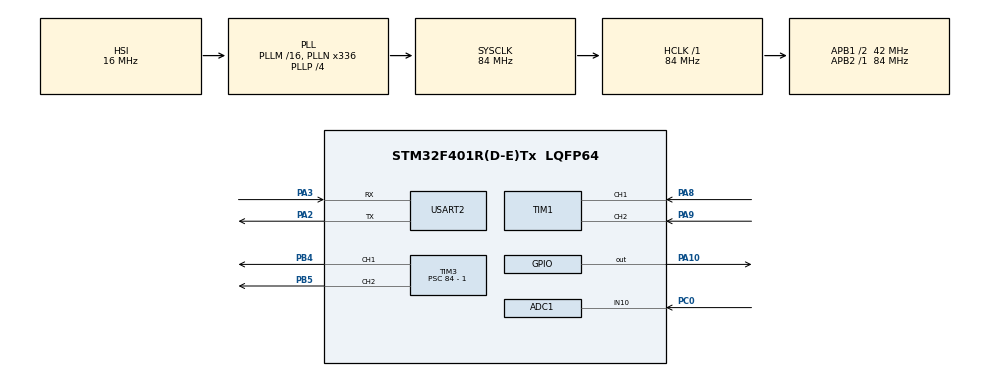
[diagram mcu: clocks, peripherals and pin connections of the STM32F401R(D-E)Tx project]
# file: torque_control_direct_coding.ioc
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ADC1.Channel-6\#ChannelRegularConversion=ADC_CHANNEL_10
ADC1.NbrOfConversionFlag=1
ADC1.Rank-6\#ChannelRegularConversion=1
ADC1.SamplingTime-6\#ChannelRegularConversion=ADC_SAMPLETIME_3CYCLES
ADC1.master=1
Mcu.Family=STM32F4
Mcu.Name=STM32F401R(D-E)Tx
Mcu.Package=LQFP64
NVIC.PriorityGroup=NVIC_PRIORITYGROUP_4
NVIC.TIM2_IRQn=true\:0\:0\:false\:false\:true\:true\:true\:true
NVIC.TIM4_IRQn=true\:0\:0\:false\:false\:true\:true\:true\:true
PA10.Signal=GPIO_Output
PA13.Mode=Serial_Wire
PA13.Signal=SYS_JTMS-SWDIO
PA14.Mode=Serial_Wire
PA14.Signal=SYS_JTCK-SWCLK
PA2.Mode=Asynchronous
PA2.Signal=USART2_TX
PA3.Mode=Asynchronous
PA3.Signal=USART2_RX
PA8.Signal=S_TIM1_CH1
PA9.Signal=S_TIM1_CH2
PB4.Signal=S_TIM3_CH1
PB5.Signal=S_TIM3_CH2
PC0.Signal=ADCx_IN10
ProjectManager.HeapSize=0x200
ProjectManager.StackSize=0x400
ProjectManager.TargetToolchain=STM32CubeIDE
RCC.48MHZClocksFreq_Value=84000000
RCC.AHBFreq_Value=84000000
RCC.APB1CLKDivider=RCC_HCLK_DIV2
RCC.APB1Freq_Value=42000000
RCC.APB1TimFreq_Value=84000000
RCC.APB2Freq_Value=84000000
RCC.APB2TimFreq_Value=84000000
RCC.CortexFreq_Value=84000000
RCC.HCLKFreq_Value=84000000
RCC.HSE_VALUE=25000000
RCC.HSI_VALUE=16000000
RCC.LSE_VALUE=32768
RCC.PLLN=336
RCC.PLLP=RCC_PLLP_DIV4
RCC.SYSCLKFreq_VALUE=84000000
RCC.SYSCLKSource=RCC_SYSCLKSOURCE_PLLCLK
RCC.VCOOutputFreq_Value=336000000
SH.ADCx_IN10.0=ADC1_IN10,IN10
SH.S_TIM1_CH1.0=TIM1_CH1,Encoder_Interface
SH.S_TIM1_CH2.0=TIM1_CH2,Encoder_Interface
SH.S_TIM3_CH1.0=TIM3_CH1,PWM Generation1 CH1
SH.S_TIM3_CH2.0=TIM3_CH2,PWM Generation2 CH2
TIM1.EncoderMode=TIM_ENCODERMODE_TI12
TIM2.Period=250-1
TIM2.Prescaler=84-1
TIM3.AutoReloadPreload=TIM_AUTORELOAD_PRELOAD_ENABLE
TIM3.Channel-PWM\ Generation1\ CH1=TIM_CHANNEL_1
TIM3.Channel-PWM\ Generation2\ CH2=TIM_CHANNEL_2
TIM3.Period=500 - 1
TIM3.Prescaler=84 - 1
TIM4.Period=5000 - 1
TIM4.Prescaler=84 - 1
USART2.VirtualMode=VM_ASYNC
VP_TIM2_VS_ClockSourceINT.Mode=Internal
VP_TIM3_VS_ClockSourceINT.Mode=Internal
VP_TIM4_VS_ClockSourceINT.Mode=Internal
board=custom

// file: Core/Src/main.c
/* USER CODE BEGIN Header */
/**
 ******************************************************************************
 * @file           : main.c
 * @brief          : Main program body
 ******************************************************************************
 * @attention
 *
 * <h2><center>&copy; Copyright (c) 2021 STMicroelectronics.
 * All rights reserved.</center></h2>
 *
 * This software component is licensed by ST under BSD 3-Clause license,
 * the "License"; You may not use this file except in compliance with the
 * License. You may obtain a copy of the License at:
 *                        opensource.org/licenses/BSD-3-Clause
 *
 ******************************************************************************
 */
/* USER CODE END Header */
#include "main.h"

/* USER CODE BEGIN Includes */
#include "stdio.h"
#include "stdlib.h"
#include "stdbool.h"
#include "math.h"
#include "string.h"
#include  <errno.h>
#include  <sys/unistd.h> // STDOUT_FILENO, STDERR_FILENO
/* USER CODE END Includes */

/* USER CODE BEGIN PD */
#define WAITING 3 // the number of seconds to wait from one reference change to the next. It also coincides with the number of seconds between one USART send and the next
/* USER CODE END PD */

ADC_HandleTypeDef hadc1;

TIM_HandleTypeDef htim1;
TIM_HandleTypeDef htim2;
TIM_HandleTypeDef htim3;
TIM_HandleTypeDef htim4;

UART_HandleTypeDef huart2;

void SystemClock_Config(void);
static void MX_GPIO_Init(void);
static void MX_USART2_UART_Init(void);
static void MX_TIM3_Init(void);
static void MX_TIM1_Init(void);
static void MX_TIM4_Init(void);
static void MX_ADC1_Init(void);
static void MX_TIM2_Init(void);

/* USER CODE BEGIN 0 */
/* BEGIN CIRCULAR DATA BUFFER */
typedef struct circular_buffer {
	void *buffer;     // data buffer
	void *buffer_end; // end of data buffer
	size_t capacity;  // maximum number of items in the buffer
	size_t count;     // number of items in the buffer
	size_t sz;        // size of each item in the buffer
	void *head;       // pointer to head
	void *tail;       // pointer to tail
	bool writing;  // signals if the buffer is being written
} circular_buffer;

void cb_init(circular_buffer *cb, size_t capacity, size_t sz) {
	cb->buffer = calloc(capacity, sz);
	if (cb->buffer == NULL)
		printf("ALLOCATED NULL\n\r");
	// handle error
	cb->buffer_end = (char*) cb->buffer + capacity * sz;
	cb->capacity = capacity;
	cb->count = 0;
	cb->sz = sz;
	cb->head = cb->buffer;
	cb->tail = cb->buffer;
	cb->writing = false;

}

void cb_free(circular_buffer *cb) {
	free(cb->buffer);
	// clear out other fields too, just to be safe
}

void cb_push_back(circular_buffer *cb, const void *item) {
	if (cb->count == cb->capacity) {
		printf("ERROR PUSH BACK \n\r");
		// handle error
	}
	cb->writing = true;
	memmove(cb->head, item, cb->sz);
	cb->head = (char*) cb->head + cb->sz;
	if (cb->head == cb->buffer_end)
		cb->head = cb->buffer;
	cb->count++;
	cb->writing = false;
}

void cb_pop_front(circular_buffer *cb, void *item) {
	if (cb->count == 0) {
		printf("ERROR PUSH BACK \n\r");
		// handle error
	}
	memmove(item, cb->tail, cb->sz);
	cb->tail = (char*) cb->tail + cb->sz;
	if (cb->tail == cb->buffer_end)
		cb->tail = cb->buffer;
	while ((cb->writing))
		;
	cb->count--;
}

circular_buffer myBuff;

/* BEGIN RECORD TYPEDEF*/
typedef struct record {
	double current_current;
	double current_u; // value of the current controller output
	double current_error;
	double current_ref;
	uint32_t cycleCoreDuration; // time needed to read, compute and actuate
	uint32_t cycleBeginDelay; // difference between the actual and the expected absolute start time of the cycle
	uint32_t currentTimestamp; // current timestamp in millis
	double current_pos;
	double current_vel;
} record;

/* BEGIN USART WRITE FUNCTION (used by printf)*/
int _write(int file, char *data, int len) {
	if ((file != STDOUT_FILENO) && (file != STDERR_FILENO)) {
		errno = EBADF;
		return -1;
	}

	// arbitrary timeout 1000
	HAL_StatusTypeDef status = HAL_UART_Transmit(&huart2, (uint8_t*) data, len,
			1000);

	// return # of bytes written - as best we can tell
	return (status == HAL_OK ? len : 0);
}

void setPulseFromDutyValue(double dutyVal) {
	HAL_GPIO_WritePin(GPIOA, GPIO_PIN_10, GPIO_PIN_SET); // enable the motor driver

	uint16_t channelToModulate;
	uint16_t channelToStop;

	if (dutyVal > 0) {
		channelToModulate = TIM_CHANNEL_1;
		channelToStop = TIM_CHANNEL_2;
	} else {
		channelToModulate = TIM_CHANNEL_2;
		channelToStop = TIM_CHANNEL_1;
	}

	__HAL_TIM_SET_COMPARE(&htim3, channelToStop, 0);
	__HAL_TIM_SET_COMPARE(&htim3, channelToModulate,
			(abs(dutyVal) * ((double )htim3.Init.Period)) / 100); //cast integer value to double to correctly perform division between decimal numbers
}

double getSpeedByDelta(double ticksDelta, double Ts) {
	return ticksDelta * 60 / (8400 * Ts);
}

double getTicksDelta(double currentTicks, double lastTicks, double Ts) {
	double delta;

	if (abs(currentTicks - lastTicks) <= ceil(12600 * Ts))
		delta = currentTicks - lastTicks;
	else {
		if (lastTicks > currentTicks)
			delta = currentTicks + pow(2, 16) - 1 - lastTicks;
		else
			delta = currentTicks - pow(2, 16) + 1 - lastTicks;
	}
	return delta;
}

int sign(double x) {

    if (x > 0) {
        return 1;
    } else if (x < 0) {
        return -1;
    } else {
        return 0;
    }

}

double getPosition(double delta, double *ticks_star){

	double ticks_star_old = *ticks_star;
	*ticks_star = ticks_star_old + delta;
	double completeTheta = 2*M_PI*(*ticks_star)/(8400);
	double position = completeTheta;

	return position;

}

double getErrorPos(double currentError) {

    double error = currentError;

    if (currentError > M_PI) {
        error = currentError - 2 * M_PI;
    } else if (currentError < -M_PI) {
        error = currentError + 2 * M_PI;
    }

    return error;

}

double getRef(double y, double real_ref){

	double real_ref_mod = remainder(real_ref,2*M_PI);
	double y_mod = remainder(y, 2*M_PI);

	double fixed_part = trunc((y-0.02) / (2 * M_PI)) *2*M_PI;

	double a = real_ref + 2*M_PI;
	double b = y_mod + 2* M_PI;

	double c, ab, bc, sign_part, r;

	if (real_ref_mod > 0)
		c = -(2*M_PI - real_ref_mod) + 2*M_PI;
	else
		c = 2*M_PI + real_ref_mod + 2*M_PI;

	if (a > b)
		ab = abs(a-b);
	else
		ab = abs(b-a);

	if (c > b)
		bc = abs(c-b);
	else
		bc = abs(b-c);

	if (ab > bc)
		if (real_ref_mod > 0)
			sign_part = - (2*M_PI - real_ref_mod);
		else
			sign_part = 2*M_PI + real_ref_mod;
	else
		sign_part = real_ref_mod;

	r = fixed_part + sign_part;

	return r;

}

double getDigitalSensorValue(double raw_value){
	double digital_value =  raw_value * 3.3/4095;
	return digital_value;
}

double getAmpere(double voltage_value){
	return ((voltage_value-2.5-0.070)/0.185);
}

double firstOrderLagFilter(double y_old, double y_hat_old, double alpha){
    double y_filtered= (alpha *y_hat_old) + ((1-alpha)* y_old);
    return y_filtered;
}

double getCurrentRef(double real_current_ref){
	return real_current_ref*0.2;
}

int cycleduration;
double lastTicks = 0;
double currentTicks = 0;
uint32_t ticControlStep;
uint32_t tocControlStep;
uint32_t controlComputationDuration;
double u_last = 0;
double e_last = 0;
double Ts = 0.005;
double referenceVals[10] = { 0.0, 0.05, 0.100, 0.150, 0.200,0.250, 0.200, 0.150, 0.1, 0.05};
double referenceVal;
uint32_t k_controller = -1;
int samplingPrescaler = 2;
int samplingPrescalerCounter = 0;
double ticks_star = 0;
uint16_t raw;
double y_old = 0;
double y_hat = 0;
double y_hat_old = 0;
double alpha = 0.9;
double k_t = 1.32;

double process_adc_data(uint32_t raw)
{  // Get ADC value
    //HAL_ADC_Start(&hadc1);
    //HAL_ADC_PollForConversion(&hadc1, HAL_MAX_DELAY);
    //raw = HAL_ADC_GetValue(&hadc1);
	double y_hat_local_process_adc_data=0;
    double digital_current_value = getDigitalSensorValue(raw);
    double ampere_value = getAmpere(digital_current_value);
    y_hat_local_process_adc_data = firstOrderLagFilter(y_old, y_hat_old, alpha);
    y_old = ampere_value;
    y_hat_old = y_hat_local_process_adc_data;
    return y_hat_local_process_adc_data;
    // Aggiungi il tuo codice di elaborazione qui
    // Ad esempio: calcolo della media, filtraggio, ecc.
}
/* USER CODE END 0 */

int main(void)
{

  /* MCU Configuration--------------------------------------------------------*/

  /* Reset of all peripherals, Initializes the Flash interface and the Systick. */
  HAL_Init();

  /* USER CODE BEGIN Init */
	//size_t bufferSize = (size_t)ceil(2 * WAITING / (Ts * samplingPrescaler));
	size_t bufferSize = 1000;
	cb_init(&myBuff, bufferSize, sizeof(record));

  /* USER CODE END Init */

  /* Configure the system clock */
  SystemClock_Config();

  /* Initialize all configured peripherals */
  MX_GPIO_Init();
  MX_USART2_UART_Init();
  MX_TIM3_Init();
  MX_TIM1_Init();
  MX_TIM4_Init();
  MX_ADC1_Init();
  MX_TIM2_Init();
  /* USER CODE BEGIN 2 */
	HAL_TIM_PWM_Start(&htim3, TIM_CHANNEL_1);
	HAL_TIM_PWM_Start(&htim3, TIM_CHANNEL_2);
	HAL_TIM_Base_Start(&htim1);
	HAL_TIM_Base_Start_IT(&htim2);
	HAL_TIM_Base_Start_IT(&htim4);

  /* USER CODE END 2 */

  /* Infinite loop */
  /* USER CODE BEGIN WHILE */
	int referenceIndex = 0;

	referenceVal = referenceVals[referenceIndex];
	printf("INIT\n\r"); // initialize the Matlab tool for COM data acquiring

	while (1) {
		size_t nEntriesToSend = myBuff.count; //number of samples not read yet
		record retrieved; //buffer entry

		for (size_t count = 0; count < nEntriesToSend; count++) {
			cb_pop_front(&myBuff, &retrieved); //take entry from the buffer
			printf("%lu, %f, %f, %f, %f, %f, %f, %lu, %lu\n\r",
					retrieved.currentTimestamp,

					retrieved.current_pos,
					retrieved.current_u,
					retrieved.current_vel,
					retrieved.current_error,
					retrieved.current_ref,
					retrieved.current_current,

					retrieved.cycleBeginDelay,
					retrieved.cycleCoreDuration); // send values via USART using format: value1, value2, value3, ... valuen \n \r
		}
		referenceVal = referenceVals[referenceIndex];
		referenceIndex = referenceIndex + 1;
		HAL_Delay(WAITING*1000); // takes a time value in ms
		if (referenceIndex > 9)
			referenceIndex = 0;

    /* USER CODE END WHILE */

	}
}

void SystemClock_Config(void)
{
  RCC_OscInitTypeDef RCC_OscInitStruct = {0};
  RCC_ClkInitTypeDef RCC_ClkInitStruct = {0};

  /** Configure the main internal regulator output voltage
  */
  __HAL_RCC_PWR_CLK_ENABLE();
  __HAL_PWR_VOLTAGESCALING_CONFIG(PWR_REGULATOR_VOLTAGE_SCALE2);

  /** Initializes the RCC Oscillators according to the specified parameters
  * in the RCC_OscInitTypeDef structure.
  */
  RCC_OscInitStruct.OscillatorType = RCC_OSCILLATORTYPE_HSI;
  RCC_OscInitStruct.HSIState = RCC_HSI_ON;
  RCC_OscInitStruct.HSICalibrationValue = RCC_HSICALIBRATION_DEFAULT;
  RCC_OscInitStruct.PLL.PLLState = RCC_PLL_ON;
  RCC_OscInitStruct.PLL.PLLSource = RCC_PLLSOURCE_HSI;
  RCC_OscInitStruct.PLL.PLLM = 16;
  RCC_OscInitStruct.PLL.PLLN = 336;
  RCC_OscInitStruct.PLL.PLLP = RCC_PLLP_DIV4;
  RCC_OscInitStruct.PLL.PLLQ = 4;
  if (HAL_RCC_OscConfig(&RCC_OscInitStruct) != HAL_OK)
  {
    Error_Handler();
  }

  /** Initializes the CPU, AHB and APB buses clocks
  */
  RCC_ClkInitStruct.ClockType = RCC_CLOCKTYPE_HCLK|RCC_CLOCKTYPE_SYSCLK
                              |RCC_CLOCKTYPE_PCLK1|RCC_CLOCKTYPE_PCLK2;
  RCC_ClkInitStruct.SYSCLKSource = RCC_SYSCLKSOURCE_PLLCLK;
  RCC_ClkInitStruct.AHBCLKDivider = RCC_SYSCLK_DIV1;
  RCC_ClkInitStruct.APB1CLKDivider = RCC_HCLK_DIV2;
  RCC_ClkInitStruct.APB2CLKDivider = RCC_HCLK_DIV1;

  if (HAL_RCC_ClockConfig(&RCC_ClkInitStruct, FLASH_LATENCY_2) != HAL_OK)
  {
    Error_Handler();
  }
}

static void MX_ADC1_Init(void)
{

  ADC_ChannelConfTypeDef sConfig = {0};

  /** Configure the global features of the ADC (Clock, Resolution, Data Alignment and number of conversion)
  */
  hadc1.Instance = ADC1;
  hadc1.Init.ClockPrescaler = ADC_CLOCK_SYNC_PCLK_DIV4;
  hadc1.Init.Resolution = ADC_RESOLUTION_12B;
  hadc1.Init.ScanConvMode = DISABLE;
  hadc1.Init.ContinuousConvMode = DISABLE;
  hadc1.Init.DiscontinuousConvMode = DISABLE;
  hadc1.Init.ExternalTrigConvEdge = ADC_EXTERNALTRIGCONVEDGE_NONE;
  hadc1.Init.ExternalTrigConv = ADC_SOFTWARE_START;
  hadc1.Init.DataAlign = ADC_DATAALIGN_RIGHT;
  hadc1.Init.NbrOfConversion = 1;
  hadc1.Init.DMAContinuousRequests = DISABLE;
  hadc1.Init.EOCSelection = ADC_EOC_SINGLE_CONV;
  if (HAL_ADC_Init(&hadc1) != HAL_OK)
  {
    Error_Handler();
  }

  /** Configure for the selected ADC regular channel its corresponding rank in the sequencer and its sample time.
  */
  sConfig.Channel = ADC_CHANNEL_10;
  sConfig.Rank = 1;
  sConfig.SamplingTime = ADC_SAMPLETIME_3CYCLES;
  if (HAL_ADC_ConfigChannel(&hadc1, &sConfig) != HAL_OK)
  {
    Error_Handler();
  }

}

static void MX_TIM1_Init(void)
{

  TIM_Encoder_InitTypeDef sConfig = {0};
  TIM_MasterConfigTypeDef sMasterConfig = {0};

  htim1.Instance = TIM1;
  htim1.Init.Prescaler = 0;
  htim1.Init.CounterMode = TIM_COUNTERMODE_UP;
  htim1.Init.Period = 65535;
  htim1.Init.ClockDivision = TIM_CLOCKDIVISION_DIV1;
  htim1.Init.RepetitionCounter = 0;
  htim1.Init.AutoReloadPreload = TIM_AUTORELOAD_PRELOAD_DISABLE;
  sConfig.EncoderMode = TIM_ENCODERMODE_TI12;
  sConfig.IC1Polarity = TIM_ICPOLARITY_RISING;
  sConfig.IC1Selection = TIM_ICSELECTION_DIRECTTI;
  sConfig.IC1Prescaler = TIM_ICPSC_DIV1;
  sConfig.IC1Filter = 0;
  sConfig.IC2Polarity = TIM_ICPOLARITY_RISING;
  sConfig.IC2Selection = TIM_ICSELECTION_DIRECTTI;
  sConfig.IC2Prescaler = TIM_ICPSC_DIV1;
  sConfig.IC2Filter = 0;
  if (HAL_TIM_Encoder_Init(&htim1, &sConfig) != HAL_OK)
  {
    Error_Handler();
  }
  sMasterConfig.MasterOutputTrigger = TIM_TRGO_RESET;
  sMasterConfig.MasterSlaveMode = TIM_MASTERSLAVEMODE_DISABLE;
  if (HAL_TIMEx_MasterConfigSynchronization(&htim1, &sMasterConfig) != HAL_OK)
  {
    Error_Handler();
  }

}

static void MX_TIM2_Init(void)
{

  TIM_ClockConfigTypeDef sClockSourceConfig = {0};
  TIM_MasterConfigTypeDef sMasterConfig = {0};

  htim2.Instance = TIM2;
  htim2.Init.Prescaler = 84-1;
  htim2.Init.CounterMode = TIM_COUNTERMODE_UP;
  htim2.Init.Period = 250-1;
  htim2.Init.ClockDivision = TIM_CLOCKDIVISION_DIV1;
  htim2.Init.AutoReloadPreload = TIM_AUTORELOAD_PRELOAD_DISABLE;
  if (HAL_TIM_Base_Init(&htim2) != HAL_OK)
  {
    Error_Handler();
  }
  sClockSourceConfig.ClockSource = TIM_CLOCKSOURCE_INTERNAL;
  if (HAL_TIM_ConfigClockSource(&htim2, &sClockSourceConfig) != HAL_OK)
  {
    Error_Handler();
  }
  sMasterConfig.MasterOutputTrigger = TIM_TRGO_RESET;
  sMasterConfig.MasterSlaveMode = TIM_MASTERSLAVEMODE_DISABLE;
  if (HAL_TIMEx_MasterConfigSynchronization(&htim2, &sMasterConfig) != HAL_OK)
  {
    Error_Handler();
  }

}

static void MX_TIM3_Init(void)
{

  TIM_ClockConfigTypeDef sClockSourceConfig = {0};
  TIM_MasterConfigTypeDef sMasterConfig = {0};
  TIM_OC_InitTypeDef sConfigOC = {0};

  htim3.Instance = TIM3;
  htim3.Init.Prescaler = 84 - 1;
  htim3.Init.CounterMode = TIM_COUNTERMODE_UP;
  htim3.Init.Period = 500 - 1;
  htim3.Init.ClockDivision = TIM_CLOCKDIVISION_DIV1;
  htim3.Init.AutoReloadPreload = TIM_AUTORELOAD_PRELOAD_ENABLE;
  if (HAL_TIM_Base_Init(&htim3) != HAL_OK)
  {
    Error_Handler();
  }
  sClockSourceConfig.ClockSource = TIM_CLOCKSOURCE_INTERNAL;
  if (HAL_TIM_ConfigClockSource(&htim3, &sClockSourceConfig) != HAL_OK)
  {
    Error_Handler();
  }
  if (HAL_TIM_PWM_Init(&htim3) != HAL_OK)
  {
    Error_Handler();
  }
  sMasterConfig.MasterOutputTrigger = TIM_TRGO_RESET;
  sMasterConfig.MasterSlaveMode = TIM_MASTERSLAVEMODE_DISABLE;
  if (HAL_TIMEx_MasterConfigSynchronization(&htim3, &sMasterConfig) != HAL_OK)
  {
    Error_Handler();
  }
  sConfigOC.OCMode = TIM_OCMODE_PWM1;
  sConfigOC.Pulse = 0;
  sConfigOC.OCPolarity = TIM_OCPOLARITY_HIGH;
  sConfigOC.OCFastMode = TIM_OCFAST_DISABLE;
  if (HAL_TIM_PWM_ConfigChannel(&htim3, &sConfigOC, TIM_CHANNEL_1) != HAL_OK)
  {
    Error_Handler();
  }
  if (HAL_TIM_PWM_ConfigChannel(&htim3, &sConfigOC, TIM_CHANNEL_2) != HAL_OK)
  {
    Error_Handler();
  }
  HAL_TIM_MspPostInit(&htim3);

}

static void MX_TIM4_Init(void)
{

  TIM_ClockConfigTypeDef sClockSourceConfig = {0};
  TIM_MasterConfigTypeDef sMasterConfig = {0};

  htim4.Instance = TIM4;
  htim4.Init.Prescaler = 84 - 1;
  htim4.Init.CounterMode = TIM_COUNTERMODE_UP;
  htim4.Init.Period = 5000 - 1;
  htim4.Init.ClockDivision = TIM_CLOCKDIVISION_DIV1;
  htim4.Init.AutoReloadPreload = TIM_AUTORELOAD_PRELOAD_DISABLE;
  if (HAL_TIM_Base_Init(&htim4) != HAL_OK)
  {
    Error_Handler();
  }
  sClockSourceConfig.ClockSource = TIM_CLOCKSOURCE_INTERNAL;
  if (HAL_TIM_ConfigClockSource(&htim4, &sClockSourceConfig) != HAL_OK)
  {
    Error_Handler();
  }
  sMasterConfig.MasterOutputTrigger = TIM_TRGO_RESET;
  sMasterConfig.MasterSlaveMode = TIM_MASTERSLAVEMODE_DISABLE;
  if (HAL_TIMEx_MasterConfigSynchronization(&htim4, &sMasterConfig) != HAL_OK)
  {
    Error_Handler();
  }

}

static void MX_USART2_UART_Init(void)
{

  huart2.Instance = USART2;
  huart2.Init.BaudRate = 115200;
  huart2.Init.WordLength = UART_WORDLENGTH_8B;
  huart2.Init.StopBits = UART_STOPBITS_1;
  huart2.Init.Parity = UART_PARITY_NONE;
  huart2.Init.Mode = UART_MODE_TX_RX;
  huart2.Init.HwFlowCtl = UART_HWCONTROL_NONE;
  huart2.Init.OverSampling = UART_OVERSAMPLING_16;
  if (HAL_UART_Init(&huart2) != HAL_OK)
  {
    Error_Handler();
  }

}

static void MX_GPIO_Init(void)
{
  GPIO_InitTypeDef GPIO_InitStruct = {0};

  /* GPIO Ports Clock Enable */
  __HAL_RCC_GPIOC_CLK_ENABLE();
  __HAL_RCC_GPIOA_CLK_ENABLE();
  __HAL_RCC_GPIOB_CLK_ENABLE();

  /*Configure GPIO pin Output Level */
  HAL_GPIO_WritePin(GPIOA, GPIO_PIN_10, GPIO_PIN_RESET);

  /*Configure GPIO pin : PA10 */
  GPIO_InitStruct.Pin = GPIO_PIN_10;
  GPIO_InitStruct.Mode = GPIO_MODE_OUTPUT_PP;
  GPIO_InitStruct.Pull = GPIO_NOPULL;
  GPIO_InitStruct.Speed = GPIO_SPEED_FREQ_LOW;
  HAL_GPIO_Init(GPIOA, &GPIO_InitStruct);

}

/* USER CODE BEGIN 4 */

void HAL_TIM_PeriodElapsedCallback(TIM_HandleTypeDef *htim) {
	if (htim == &htim4) {
		k_controller = k_controller + 1;
		if (k_controller == 0) {
			ticControlStep = HAL_GetTick();
		}
		tocControlStep = HAL_GetTick();

		currentTicks = (double) __HAL_TIM_GET_COUNTER(&htim1); //take current value of ticks counting the encoder edges
		double speed = getSpeedByDelta(
								getTicksDelta(currentTicks, lastTicks, Ts), Ts);

		double position = getPosition(
						getTicksDelta(currentTicks, lastTicks, Ts),&ticks_star);

	    // Get ADC value
	    //HAL_ADC_Start(&hadc1);
	    //HAL_ADC_PollForConversion(&hadc1, HAL_MAX_DELAY);
	    //raw = HAL_ADC_GetValue(&hadc1);

	    //double digital_current_value = getDigitalSensorValue(raw);
	    //double ampere_value = getAmpere(digital_current_value);
	    //y_hat = firstOrderLagFilter(y_old, y_hat_old, alpha);
	    //y_old = ampere_value;
	    //y_hat_old = y_hat;

	    //double reference = getCurrentRef(referenceVal);
		/*HAL_ADC_Start(&hadc1);
		HAL_ADC_PollForConversion(&hadc1, HAL_MAX_DELAY);
		raw = HAL_ADC_GetValue(&hadc1);
		y_hat=process_adc_data(raw, y_old,  y_hat_old, alpha);*/

		double y_hat_local = y_hat;

	    double reference=referenceVal;

	    double torque_value = k_t*y_hat_local;

		double e = reference - y_hat_local;

		/*

		  C_z =	  	  2.556 z - 1.606
		  	  	  	  ---------------
		       	   	   	   z - 1

		 U(z)(z-1) = E(z) (2.556 z - 1.606)
		 u(k) = u(k-1) + 2.556 e(k) - 1.606 e(k-1)
		*/
		double z_q_gamma =  + 2.211*e -1.389 * e_last;
		double z_antiwindFunc = u_last;
		double u = z_q_gamma + z_antiwindFunc;

		if (u > 12){
			u=12;
		}
		if(u<-12){
			u=-12;
		}

		setPulseFromDutyValue(u*100/12);

		u_last = u;
		e_last = e;

		// u si dovrebbre moltiplicare per Gv ma in questo caso è 1 perchè il guadagno dell'amplificatore di potenza è incluso nel controllore.

		controlComputationDuration = HAL_GetTick() - tocControlStep;
		lastTicks = currentTicks;
		// recording data in the buffer

		record r;
		r.current_u = u;
		r.current_current = y_hat_local;
		r.current_error = e;
		r.current_ref = reference;
		r.cycleCoreDuration = controlComputationDuration;
		r.cycleBeginDelay = tocControlStep - ticControlStep
				- (k_controller * Ts * 1000);
		r.currentTimestamp = HAL_GetTick();
		r.current_pos=position;
		r.current_vel=speed;
		if (samplingPrescalerCounter == (samplingPrescaler - 1)) {
			cb_push_back(&myBuff, &r);
			samplingPrescalerCounter = -1;
		}
		samplingPrescalerCounter++;
	}
	if (htim == &htim2) {
		uint32_t raw;
		HAL_ADC_Start(&hadc1);
		HAL_ADC_PollForConversion(&hadc1, HAL_MAX_DELAY);
		raw = HAL_ADC_GetValue(&hadc1);
		y_hat=process_adc_data(raw);
	}
}

/* USER CODE END 4 */

void Error_Handler(void)
{
	__disable_irq();
	while (1) {
	}
}
